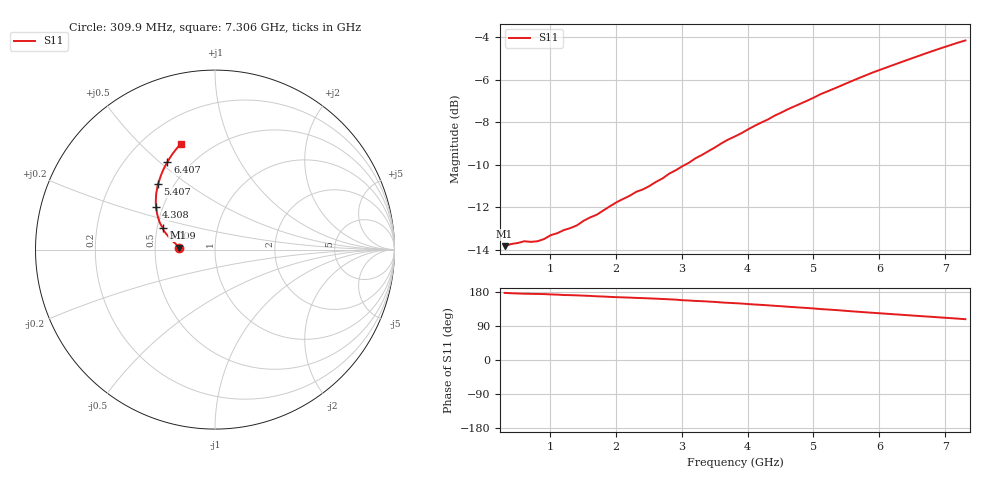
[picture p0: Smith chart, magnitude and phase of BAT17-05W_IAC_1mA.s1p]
! Infineon Technologies  Discrete & RF Semiconductors
! BAT17-05W
! IAC = 1 mA
! One-Port S-Parameters
# Hz  S  MA  R  50
!f  S11
!Hz  Mag  Ang
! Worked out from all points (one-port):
!   71 points, 309.9 MHz to 7.306 GHz, reference 50 ohm
!   lowest |S11| = -13.8 dB at 309.9 MHz (marker M1), VSWR 1.51, Z = 33.1 + j0.723 ohm
!   |S11| at or under -10 dB: start of sweep to 3.054 GHz
!   S11 on the Smith chart (normalised r, x): 309.9 MHz: 0.66, +0.01; 3.009 GHz: 0.54, +0.14; 4.308 GHz: 0.46, +0.26; 5.407 GHz: 0.41, +0.39; 6.407 GHz: 0.38, +0.53; 7.306 GHz: 0.35, +0.67
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3.0985e8  0.2034 177.1
6.097e8  0.2089 174.9
8.096e8  0.2089 174.2
9.0955e8  0.2115 174.0
1.0095e9  0.2159 173.1
1.2094e9  0.2219 171.5
1.4093e9  0.2277 170.5
1.50925e9  0.2334 169.8
1.70915e9  0.2412 168.1
2.10895e9  0.2626 165.2
2.50875e9  0.2817 162.6
2.6087e9  0.2881 161.8
2.90855e9  0.3068 159.3
3.0085e9  0.3135 157.8
3.4083e9  0.3404 154.2
3.8081e9  0.3684 149.9
4.30785e9  0.4037 144.3
4.70765e9  0.4333 139.5
5.0075e9  0.4547 135.9
5.10745e9  0.463 134.4
5.4073e9  0.4839 130.9
5.6072e9  0.4989 128.2
6.007e9  0.5279 123.3
6.4068e9  0.5559 118.5
6.50675e9  0.5631 117.3
6.8066e9  0.5845 113.8
7.10645e9  0.6056 110.2
7.30635e9  0.6191 107.7
